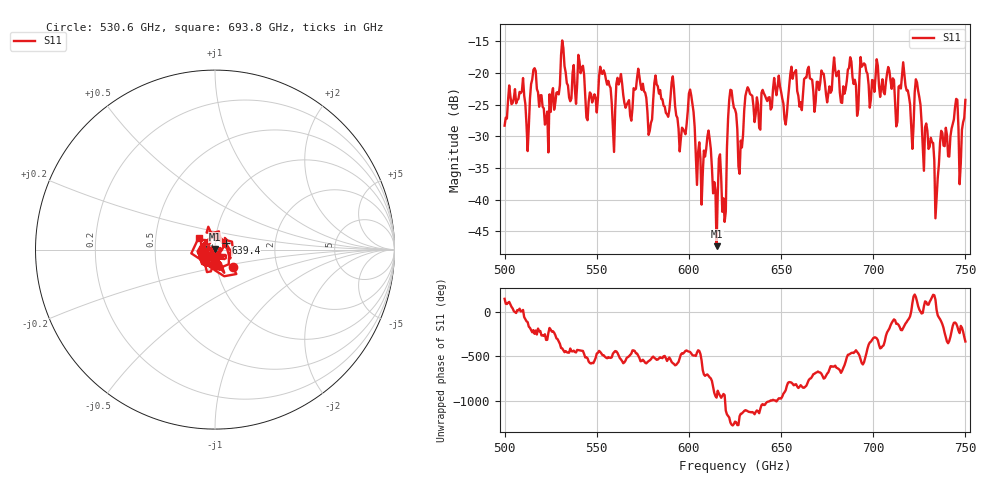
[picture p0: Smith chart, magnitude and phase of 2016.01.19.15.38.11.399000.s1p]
!Created with skrf (http://scikit-rf.org).
# GHz S RI R 50.0
!freq ReS11 ImS11
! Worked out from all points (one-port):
!   401 points, 500 GHz to 750 GHz, reference 50 ohm
!   lowest |S11| = -47.4 dB at 615 GHz (marker M1), VSWR 1.01, Z = 49.8 + j0.387 ohm
!   |S11| at or under -10 dB: start of sweep to end of sweep
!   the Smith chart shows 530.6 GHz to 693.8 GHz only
!   S11 on the Smith chart (normalised r, x): 530.6 GHz: 1.19, -0.24; 639.4 GHz: 1.13, +0.08; 693.8 GHz: 0.83, +0.11
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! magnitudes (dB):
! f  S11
! 500 GHz  -28.3
! 512.5 GHz  -32.3
! 515.6 GHz  -19.5
! 522.5 GHz  -27.4
! 530.6 GHz  -17.2
! 531.2 GHz  -14.9
! 545 GHz  -27.5
! 553.1 GHz  -20.2
! 558.8 GHz  -28.6
! 562.5 GHz  -21.2
! 593.8 GHz  -27.1
! 601.2 GHz  -23.5
! 605.6 GHz  -31.0
! 610.6 GHz  -29.1
! 615 GHz  -47.4
! 618.8 GHz  -39.8
! 622.5 GHz  -22.7
! 625 GHz  -25.7
! 628.1 GHz  -30.7
! 631.9 GHz  -22.3
! 639.4 GHz  -23.1
! 656.2 GHz  -20.9
! 687.5 GHz  -17.5
! 693.8 GHz  -19.0
! 718.8 GHz  -22.7
! 724.4 GHz  -22.8
! 734.4 GHz  -39.7
! 750 GHz  -24.3
